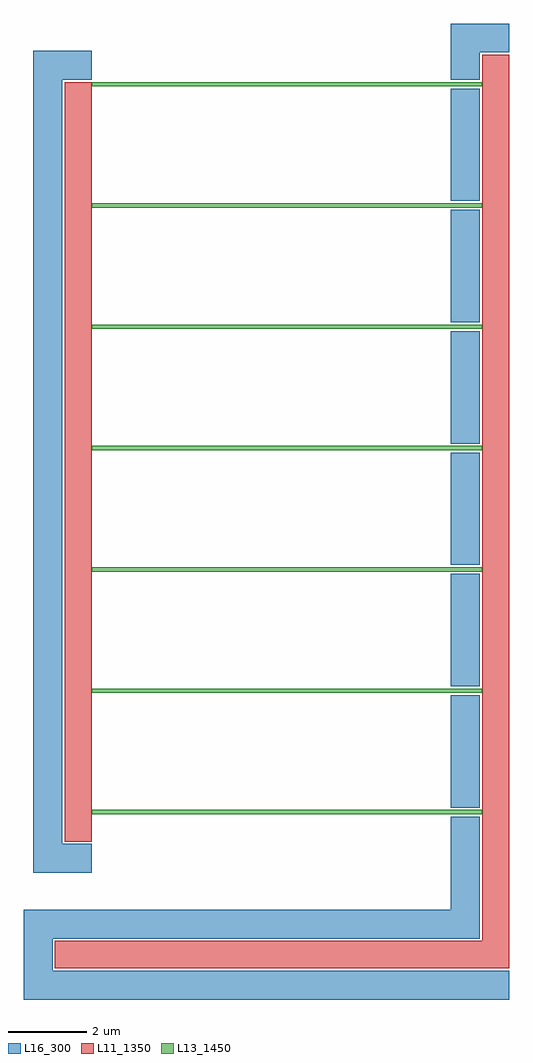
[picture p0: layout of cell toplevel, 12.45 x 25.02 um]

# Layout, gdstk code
from math import pi, radians
import gdstk
lib = gdstk.Library(unit=1e-6, precision=1e-09)
def R(c, l, rs):  # rectangles x0, y0, x1, y1
    for r in rs: c.add(gdstk.rectangle(r[:2], r[2:], *l))
def A(c, l, x, y, w, h, nx, ny, dx, dy):  # array of equal rectangles
    R(c, l, [(x+i*dx, y+j*dy, x+i*dx+w, y+j*dy+h) for i in range(nx) for j in range(ny)])
def P(c, l, *ps):  # polygons
    for p in ps: c.add(gdstk.Polygon(p, *l))
L11_1350 = (11, 1350)
L13_1450 = (13, 1450)
L16_300 = (16, 300)

rectangle014 = lib.new_cell('rectangle014')
R(rectangle014, L11_1350, [(0,0,0.7,18.77)])

rectangle015 = lib.new_cell('rectangle015')
R(rectangle015, L11_1350, [(0,-0.7,0.7,0)])

arm_connector = lib.new_cell('Arm connector')
arm_connector.add(gdstk.Reference(rectangle014, (-0.7,-18.66)))
arm_connector.add(gdstk.Reference(rectangle015, (-0.7,-18.66)))

c_l = lib.new_cell('L')
P(c_l, L11_1350, [(-0.35,-0.35),(11.3,-0.35),(11.3,0.35),(0.35,0.35),(0.35,22.37),(-0.35,22.37),(-0.35,-0.35)])

rectangle016 = lib.new_cell('rectangle016')
R(rectangle016, L11_1350, [(-0.35,22.37,0.35,23.07)])

right_arm_connector = lib.new_cell('Right arm connector')
right_arm_connector.add(gdstk.Reference(c_l, (10.35,-22.26), rotation=pi, x_reflection=True))
right_arm_connector.add(gdstk.Reference(rectangle016, (10.35,-22.26), rotation=pi, x_reflection=True))

arms = lib.new_cell('Arms')
arms.add(gdstk.Reference(arm_connector, (0,0)))
arms.add(gdstk.Reference(right_arm_connector, (0,0)))

rectangle = lib.new_cell('rectangle')
R(rectangle, L13_1450, [(0,0,10,0.11)])

resistive_segment = lib.new_cell('Resistive segment')
resistive_segment.add(gdstk.Reference(rectangle, (0,0)))

rectangle003 = lib.new_cell('rectangle003')
R(rectangle003, L13_1450, [(0,0,10,0.11)])

resistive_segment002 = lib.new_cell('Resistive segment002')
resistive_segment002.add(gdstk.Reference(rectangle003, (0,-3.11)))

rectangle005 = lib.new_cell('rectangle005')
R(rectangle005, L13_1450, [(0,0,10,0.11)])

resistive_segment004 = lib.new_cell('Resistive segment004')
resistive_segment004.add(gdstk.Reference(rectangle005, (0,-6.22)))

rectangle007 = lib.new_cell('rectangle007')
R(rectangle007, L13_1450, [(0,0,10,0.11)])

resistive_segment006 = lib.new_cell('Resistive segment006')
resistive_segment006.add(gdstk.Reference(rectangle007, (0,-9.33)))

rectangle009 = lib.new_cell('rectangle009')
R(rectangle009, L13_1450, [(0,0,10,0.11)])

resistive_segment008 = lib.new_cell('Resistive segment008')
resistive_segment008.add(gdstk.Reference(rectangle009, (0,-12.44)))

rectangle011 = lib.new_cell('rectangle011')
R(rectangle011, L13_1450, [(0,0,10,0.11)])

resistive_segment010 = lib.new_cell('Resistive segment010')
resistive_segment010.add(gdstk.Reference(rectangle011, (0,-15.55)))

rectangle013 = lib.new_cell('rectangle013')
R(rectangle013, L13_1450, [(0,0,10,0.11)])

resistive_segment012 = lib.new_cell('Resistive segment012')
resistive_segment012.add(gdstk.Reference(rectangle013, (0,-18.66)))

resistive_segments = lib.new_cell('Resistive segments')
resistive_segments.add(gdstk.Reference(resistive_segment, (0,0)))
resistive_segments.add(gdstk.Reference(resistive_segment002, (0,0)))
resistive_segments.add(gdstk.Reference(resistive_segment004, (0,0)))
resistive_segments.add(gdstk.Reference(resistive_segment006, (0,0)))
resistive_segments.add(gdstk.Reference(resistive_segment008, (0,0)))
resistive_segments.add(gdstk.Reference(resistive_segment010, (0,0)))
resistive_segments.add(gdstk.Reference(resistive_segment012, (0,0)))

boolean = lib.new_cell('boolean')
P(boolean, L16_300, [(0.7,-0.76),(-0.06,-0.76),(-0.06,18.83),(0.7,18.83),(0.7,19.57),(-0.8,19.57),(-0.8,-1.5),(0.7,-1.5)])

undercut = lib.new_cell('Undercut')
undercut.add(gdstk.Reference(boolean, (-0.7,-18.66)))

boolean017 = lib.new_cell('boolean017')
A(boolean017, L16_300, 9.2, -18.49, 0.74, 2.88, 1, 6, 0, 3.11)
P(boolean017, L16_300, [(9.94,0.87),(10.7,0.87),(10.7,1.61),(9.2,1.61),(9.2,0.17),(9.94,0.17)],
  [(10.7,-22.67),(-1.01,-22.67),(-1.01,-21.85),(9.94,-21.85),(9.94,-18.72),(9.2,-18.72),(9.2,-21.11),(-1.75,-21.11),(-1.75,-23.41),(10.7,-23.41)])

liftoff_undercut = lib.new_cell('Liftoff undercut')
liftoff_undercut.add(gdstk.Reference(undercut, (0,0)))
liftoff_undercut.add(gdstk.Reference(boolean017, (0,0)))

toplevel = lib.new_cell('toplevel')
toplevel.add(gdstk.Reference(arms, (0,0)))
toplevel.add(gdstk.Reference(resistive_segments, (0,0)))
toplevel.add(gdstk.Reference(liftoff_undercut, (0,0)))

lib.write_gds('toplevel.gds')
